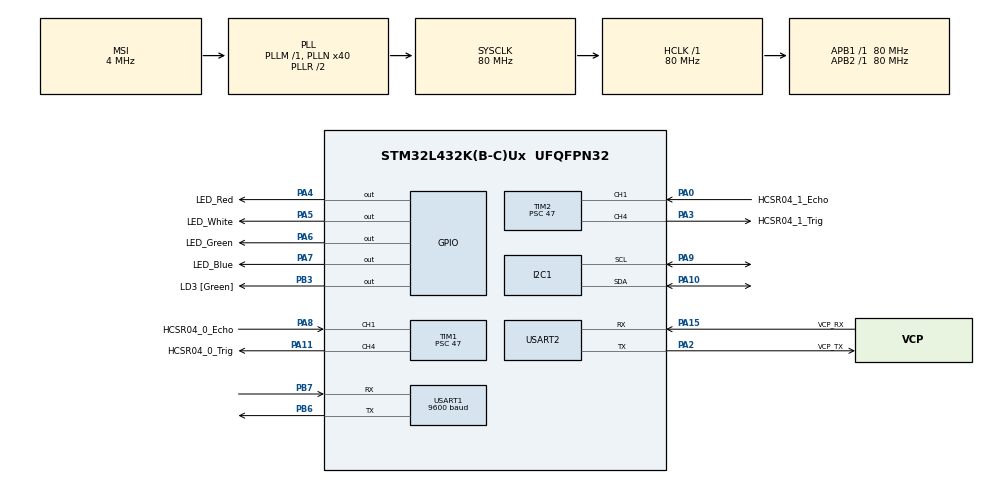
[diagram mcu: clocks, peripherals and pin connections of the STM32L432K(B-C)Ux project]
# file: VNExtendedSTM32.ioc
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I2C1.Timing=0x10909CEC
Mcu.Family=STM32L4
Mcu.Name=STM32L432K(B-C)Ux
Mcu.Package=UFQFPN32
NVIC.I2C1_ER_IRQn=true\:0\:0\:false\:false\:true\:true\:true
NVIC.I2C1_EV_IRQn=true\:0\:0\:false\:false\:true\:true\:true
NVIC.PriorityGroup=NVIC_PRIORITYGROUP_4
NVIC.TIM1_BRK_TIM15_IRQn=true\:0\:0\:false\:false\:true\:true\:true
NVIC.TIM1_CC_IRQn=true\:0\:0\:false\:false\:true\:true\:true
NVIC.TIM1_TRG_COM_IRQn=true\:0\:0\:false\:false\:true\:true\:true
NVIC.TIM1_UP_TIM16_IRQn=true\:0\:0\:false\:false\:true\:true\:true
NVIC.TIM2_IRQn=true\:0\:0\:false\:false\:true\:true\:true
NVIC.USART1_IRQn=true\:0\:0\:false\:false\:true\:true\:true
PA0.GPIO_Label=HCSR04_1_Echo
PA0.Signal=S_TIM2_CH1
PA10.Mode=I2C
PA10.Signal=I2C1_SDA
PA11.GPIO_Label=HCSR04_0_Trig
PA11.Signal=S_TIM1_CH4
PA13\ (JTMS-SWDIO).GPIO_Label=SWDIO
PA13\ (JTMS-SWDIO).Mode=Serial_Wire
PA13\ (JTMS-SWDIO).Signal=SYS_JTMS-SWDIO
PA14\ (JTCK-SWCLK).GPIO_Label=SWCLK
PA14\ (JTCK-SWCLK).Mode=Serial_Wire
PA14\ (JTCK-SWCLK).Signal=SYS_JTCK-SWCLK
PA15\ (JTDI).GPIO_Label=VCP_RX
PA15\ (JTDI).GPIO_PuPd=GPIO_PULLUP
PA15\ (JTDI).Mode=Asynchronous
PA15\ (JTDI).Signal=USART2_RX
PA2.GPIO_Label=VCP_TX
PA2.GPIO_PuPd=GPIO_PULLUP
PA2.Mode=Asynchronous
PA2.Signal=USART2_TX
PA3.GPIO_Label=HCSR04_1_Trig
PA3.Signal=S_TIM2_CH4
PA4.GPIO_Label=LED_Red
PA4.Signal=GPIO_Output
PA5.GPIO_Label=LED_White
PA5.Signal=GPIO_Output
PA6.GPIO_Label=LED_Green
PA6.Signal=GPIO_Output
PA7.GPIO_Label=LED_Blue
PA7.Signal=GPIO_Output
PA8.GPIO_Label=HCSR04_0_Echo
PA8.Signal=S_TIM1_CH1
PA9.Mode=I2C
PA9.Signal=I2C1_SCL
PB3\ (JTDO-TRACESWO).GPIO_Label=LD3 [Green]
PB3\ (JTDO-TRACESWO).Signal=GPIO_Output
PB6.GPIO_PuPd=GPIO_PULLUP
PB6.Mode=Asynchronous
PB6.Signal=USART1_TX
PB7.GPIO_PuPd=GPIO_PULLUP
PB7.Mode=Asynchronous
PB7.Signal=USART1_RX
PC14-OSC32_IN\ (PC14).Mode=LSE-External-Oscillator
PC14-OSC32_IN\ (PC14).Signal=RCC_OSC32_IN
PC15-OSC32_OUT\ (PC15).Mode=LSE-External-Oscillator
PC15-OSC32_OUT\ (PC15).Signal=RCC_OSC32_OUT
ProjectManager.HeapSize=0x200
ProjectManager.StackSize=0x400
ProjectManager.TargetToolchain=SW4STM32
RCC.ADCFreq_Value=16000000
RCC.AHBFreq_Value=80000000
RCC.APB1Freq_Value=80000000
RCC.APB1TimFreq_Value=80000000
RCC.APB2Freq_Value=80000000
RCC.APB2TimFreq_Value=80000000
RCC.CortexFreq_Value=80000000
RCC.HCLKFreq_Value=80000000
RCC.HSE_VALUE=8000000
RCC.HSI16_VALUE=16000000
RCC.HSI48_VALUE=48000000
RCC.HSI_VALUE=16000000
RCC.MSI_VALUE=4000000
RCC.PLLMUL=RCC_PLLMUL_4
RCC.PLLN=40
RCC.SYSCLKFreq_VALUE=80000000
RCC.SYSCLKSource=RCC_SYSCLKSOURCE_PLLCLK
RCC.USBFreq_Value=16000000
RCC.VCOOutputFreq_Value=160000000
SH.S_TIM1_CH1.0=TIM1_CH1,Input_Capture1_from_TI1
SH.S_TIM1_CH1.1=TIM1_CH1,Input_Capture2_from_TI1
SH.S_TIM1_CH4.0=TIM1_CH4,PWM Generation4 CH4
SH.S_TIM2_CH1.0=TIM2_CH1,Input_Capture2_from_TI1
SH.S_TIM2_CH1.1=TIM2_CH1,Input_Capture1_from_TI1
SH.S_TIM2_CH4.0=TIM2_CH4,PWM Generation4 CH4
TIM1.Channel-Input_Capture1_from_TI1=TIM_CHANNEL_1
TIM1.Channel-Input_Capture2_from_TI1=TIM_CHANNEL_2
TIM1.Channel-PWM\ Generation4\ CH4=TIM_CHANNEL_4
TIM1.ICPolarity_CH2=TIM_INPUTCHANNELPOLARITY_FALLING
TIM1.Period=65535
TIM1.Prescaler=47
TIM1.Pulse-PWM\ Generation4\ CH4=11
TIM2.Channel-Input_Capture1_from_TI1=TIM_CHANNEL_1
TIM2.Channel-Input_Capture2_from_TI1=TIM_CHANNEL_2
TIM2.Channel-PWM\ Generation4\ CH4=TIM_CHANNEL_4
TIM2.ICPolarity_CH2=TIM_INPUTCHANNELPOLARITY_FALLING
TIM2.Period=65535
TIM2.Prescaler=47
TIM2.Pulse-PWM\ Generation4\ CH4=11
USART1.BaudRate=9600
USART1.VirtualMode-Asynchronous=VM_ASYNC
USART2.VirtualMode-Asynchronous=VM_ASYNC
VP_TIM2_VS_ClockSourceINT.Mode=Internal
board=NUCLEO-L432KC

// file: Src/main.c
/* USER CODE BEGIN Header */
/**
  ******************************************************************************
  * @file           : main.c
  * @brief          : Main program body
  ******************************************************************************
  * @attention
  *
  * <h2><center>&copy; Copyright (c) 2019 STMicroelectronics.
  * All rights reserved.</center></h2>
  *
  * This software component is licensed by ST under BSD 3-Clause license,
  * the "License"; You may not use this file except in compliance with the
  * License. You may obtain a copy of the License at:
  *                        opensource.org/licenses/BSD-3-Clause
  *
  ******************************************************************************
  */
/* USER CODE END Header */

#include "main.h"
#include "i2c.h"
#include "tim.h"
#include "usart.h"
#include "gpio.h"

/* USER CODE BEGIN Includes */
#include "gps.h"
#include "HMC5883L.h"
#include "hcsr04.h"
#include <string.h>
#include <stdio.h>
/* USER CODE END Includes */

/* USER CODE BEGIN PTD */
typedef struct strCoor {
  float latitude;
  float longitude;
} coordinate;
/* USER CODE END PTD */

/* USER CODE BEGIN PV */
const int numberOfPoints = 2;
coordinate routePoints[2] = {
    {5225.1079, 2099.6542},
    {5225.1312, 2099.5248}
};
float distance0, distance1, currentLatitude, currentLongitude, targetLatitude, targetLongitude, distanceForTarget;
int targetPointIndex = 0;

char buf[30];
uint8_t len;
/* USER CODE END PV */

void SystemClock_Config(void);
/* USER CODE BEGIN PFP */
void vibrateAllMotorsForGivenTime(int);

void vibrateTheProperDirectionMotorOnce(float, char[100]);

void vibrateMotorsForFinish(char[100]);

float getCurrentCourseAngle(float, float, float, float, char[100]);
/* USER CODE END PFP */

/* USER CODE BEGIN 0 */
volatile struct gps_state gps_handle;
volatile uint8_t recv_char;

void HAL_UART_RxCpltCallback(UART_HandleTypeDef *uart) {
  if (uart == &huart1) {
    gps_recv_char(&gps_handle, recv_char);
    HAL_UART_Receive_IT(&huart1, &recv_char, 1);
  }
}
/* USER CODE END 0 */

int main(void)
{

  /* MCU Configuration--------------------------------------------------------*/

  /* Reset of all peripherals, Initializes the Flash interface and the Systick. */
  HAL_Init();

  /* Configure the system clock */
  SystemClock_Config();

  /* Initialize all configured peripherals */
  MX_GPIO_Init();
  MX_USART2_UART_Init();
  MX_I2C1_Init();
  MX_USART1_UART_Init();
  MX_TIM1_Init();
  MX_TIM2_Init();
  /* USER CODE BEGIN 2 */
  HCSR04_0_Init(&htim1);
  HCSR04_1_Init(&htim2);

  gps_handle = gps_init(&huart1);
  HAL_UART_Receive_IT(&huart1, &recv_char, 1);

  char output_buffer[100];
  for (uint8_t i = 0; i < 100; i++)
    output_buffer[i] = '\0';

  HMC5883L_Init();
  /* USER CODE END 2 */

  /* Infinite loop */
  /* USER CODE BEGIN WHILE */
  while (1) {
    sprintf(output_buffer, "\r\n");
    HAL_UART_Transmit(&huart2, output_buffer, strlen(output_buffer), 100);

    sprintf(output_buffer, "Data: %02d-%02d-20%02d\r\n", gps_handle.date_day, gps_handle.date_mounth, gps_handle.date_year);
    HAL_UART_Transmit(&huart2, output_buffer, strlen(output_buffer), 100);

    sprintf(output_buffer, "Czas: %02d:%02d:%02d\r\n", gps_handle.time_hour, gps_handle.time_min, gps_handle.time_sec);
    HAL_UART_Transmit(&huart2, output_buffer, strlen(output_buffer), 100);

    targetLatitude = routePoints[targetPointIndex].latitude;
    targetLongitude = routePoints[targetPointIndex].longitude;

    sprintf(output_buffer, "Szerokosc geograficzna celu: %f \r\n", targetLatitude);
    HAL_UART_Transmit(&huart2, output_buffer, strlen(output_buffer), 100);

    sprintf(output_buffer, "Dlugosc geograficzna celu: %f \r\n", targetLongitude);
    HAL_UART_Transmit(&huart2, output_buffer, strlen(output_buffer), 100);

    currentLatitude = gps_handle.latitude;
    currentLongitude = gps_handle.longitude;

    sprintf(output_buffer, "Obecna szerokosc geograficzna: %f %c\r\n", currentLatitude, gps_handle.latitude_direction);
    HAL_UART_Transmit(&huart2, output_buffer, strlen(output_buffer), 100);

    sprintf(output_buffer, "Obecna dlugosc geograficzna: %f %c\r\n", currentLongitude, gps_handle.longitude_direction);
    HAL_UART_Transmit(&huart2, output_buffer, strlen(output_buffer), 100);

    sprintf(output_buffer, "Angle is: %d\r\n", HMC5883L_GetAngle());
    HAL_UART_Transmit(&huart2, (uint8_t*)output_buffer, strlen(output_buffer), 100);

    HCSR04_0_Read(&distance0);
    len = sprintf(buf, "distance0: %.2f\n\r", distance0);
    HAL_UART_Transmit(&huart2, (uint8_t *) buf, len, 20);

    HCSR04_1_Read(&distance1);
    len = sprintf(buf, "distance1: %.2f\n\r", distance1);
    HAL_UART_Transmit(&huart2, (uint8_t *) buf, len, 20);

    distanceForTarget = distance_between(currentLatitude, currentLongitude, targetLatitude, targetLongitude);

    if (distanceForTarget < 5) {
      if (targetPointIndex >= numberOfPoints) {
        vibrateMotorsForFinish(output_buffer);
        break;
      }
      sprintf(output_buffer, "NASTEPNY PUNKT\n\r");
      HAL_UART_Transmit(&huart2, output_buffer, strlen(output_buffer), 100);
      vibrateAllMotorsForGivenTime(2000);
      ++targetPointIndex;
    }

    if(distance0 < 100 && distance0 > 20 && distance1 < 100 && distance1 > 20) {
      sprintf(output_buffer, "UCIEKAJ DO PRZODU\n\r");
      HAL_UART_Transmit(&huart2, output_buffer, strlen(output_buffer), 100);
      HAL_GPIO_WritePin(LED_Green_GPIO_Port, LED_Green_Pin, 1);
      HAL_Delay(1000);
      HAL_GPIO_WritePin(LED_Green_GPIO_Port, LED_Green_Pin, 0);
    }
    else if (distance0 < 100 && distance0 > 20) {
      sprintf(output_buffer, "UCIEKAJ W PRAWO\n\r");
      HAL_UART_Transmit(&huart2, output_buffer, strlen(output_buffer), 100);
      HAL_GPIO_WritePin(LED_Blue_GPIO_Port, LED_Blue_Pin, 1);
      HAL_Delay(1000);
      HAL_GPIO_WritePin(LED_Blue_GPIO_Port, LED_Blue_Pin, 0);
    } else if (distance1 < 100 && distance1 > 20) {
      sprintf(output_buffer, "UCIEKAJ W LEWO\n\r");
      HAL_UART_Transmit(&huart2, output_buffer, strlen(output_buffer), 100);
      HAL_GPIO_WritePin(LED_White_GPIO_Port, LED_White_Pin, 1);
      HAL_Delay(1000);
      HAL_GPIO_WritePin(LED_White_GPIO_Port, LED_White_Pin, 0);
    } else {
      vibrateTheProperDirectionMotorOnce(
          getCurrentCourseAngle(currentLatitude, currentLongitude, targetLatitude, targetLongitude, output_buffer),
          output_buffer);
    }
    /* USER CODE END WHILE */

    /* USER CODE BEGIN 3 */
    HAL_Delay(2000);
  }
  /* USER CODE END 3 */
}

void SystemClock_Config(void)
{
  RCC_OscInitTypeDef RCC_OscInitStruct = {0};
  RCC_ClkInitTypeDef RCC_ClkInitStruct = {0};
  RCC_PeriphCLKInitTypeDef PeriphClkInit = {0};

  /** Configure LSE Drive Capability
  */
  HAL_PWR_EnableBkUpAccess();
  __HAL_RCC_LSEDRIVE_CONFIG(RCC_LSEDRIVE_LOW);
  /** Initializes the CPU, AHB and APB busses clocks
  */
  RCC_OscInitStruct.OscillatorType = RCC_OSCILLATORTYPE_LSE|RCC_OSCILLATORTYPE_MSI;
  RCC_OscInitStruct.LSEState = RCC_LSE_ON;
  RCC_OscInitStruct.MSIState = RCC_MSI_ON;
  RCC_OscInitStruct.MSICalibrationValue = 0;
  RCC_OscInitStruct.MSIClockRange = RCC_MSIRANGE_6;
  RCC_OscInitStruct.PLL.PLLState = RCC_PLL_ON;
  RCC_OscInitStruct.PLL.PLLSource = RCC_PLLSOURCE_MSI;
  RCC_OscInitStruct.PLL.PLLM = 1;
  RCC_OscInitStruct.PLL.PLLN = 40;
  RCC_OscInitStruct.PLL.PLLP = RCC_PLLP_DIV7;
  RCC_OscInitStruct.PLL.PLLQ = RCC_PLLQ_DIV2;
  RCC_OscInitStruct.PLL.PLLR = RCC_PLLR_DIV2;
  if (HAL_RCC_OscConfig(&RCC_OscInitStruct) != HAL_OK)
  {
    Error_Handler();
  }
  /** Initializes the CPU, AHB and APB busses clocks
  */
  RCC_ClkInitStruct.ClockType = RCC_CLOCKTYPE_HCLK|RCC_CLOCKTYPE_SYSCLK
                              |RCC_CLOCKTYPE_PCLK1|RCC_CLOCKTYPE_PCLK2;
  RCC_ClkInitStruct.SYSCLKSource = RCC_SYSCLKSOURCE_PLLCLK;
  RCC_ClkInitStruct.AHBCLKDivider = RCC_SYSCLK_DIV1;
  RCC_ClkInitStruct.APB1CLKDivider = RCC_HCLK_DIV1;
  RCC_ClkInitStruct.APB2CLKDivider = RCC_HCLK_DIV1;

  if (HAL_RCC_ClockConfig(&RCC_ClkInitStruct, FLASH_LATENCY_4) != HAL_OK)
  {
    Error_Handler();
  }
  PeriphClkInit.PeriphClockSelection = RCC_PERIPHCLK_USART1|RCC_PERIPHCLK_USART2
                              |RCC_PERIPHCLK_I2C1;
  PeriphClkInit.Usart1ClockSelection = RCC_USART1CLKSOURCE_PCLK2;
  PeriphClkInit.Usart2ClockSelection = RCC_USART2CLKSOURCE_PCLK1;
  PeriphClkInit.I2c1ClockSelection = RCC_I2C1CLKSOURCE_PCLK1;
  if (HAL_RCCEx_PeriphCLKConfig(&PeriphClkInit) != HAL_OK)
  {
    Error_Handler();
  }
  /** Configure the main internal regulator output voltage
  */
  if (HAL_PWREx_ControlVoltageScaling(PWR_REGULATOR_VOLTAGE_SCALE1) != HAL_OK)
  {
    Error_Handler();
  }
  /** Enable MSI Auto calibration
  */
  HAL_RCCEx_EnableMSIPLLMode();
}

/* USER CODE BEGIN 4 */
void HAL_TIM_IC_CaptureCallback(TIM_HandleTypeDef *htim) {
  HCSR04_TIM_IC_CaptureCallback(htim);
}

void vibrateAllMotorsForGivenTime(int time) {
  HAL_GPIO_WritePin(LED_White_GPIO_Port, LED_White_Pin, 1);
  HAL_GPIO_WritePin(LED_Green_GPIO_Port, LED_Green_Pin, 1);
  HAL_GPIO_WritePin(LED_Blue_GPIO_Port, LED_Blue_Pin, 1);
  HAL_GPIO_WritePin(LED_Red_GPIO_Port, LED_Red_Pin, 1);
  HAL_Delay(time);
  HAL_GPIO_WritePin(LED_Red_GPIO_Port, LED_Red_Pin, 0);
  HAL_GPIO_WritePin(LED_Blue_GPIO_Port, LED_Blue_Pin, 0);
  HAL_GPIO_WritePin(LED_Green_GPIO_Port, LED_Green_Pin, 0);
  HAL_GPIO_WritePin(LED_White_GPIO_Port, LED_White_Pin, 0);
}

void vibrateTheProperDirectionMotorOnce(float destinationAngle, char output_buffer[100]) {
  if ((0 <= destinationAngle && destinationAngle < 22.5) ||
      (337.5 <= destinationAngle && destinationAngle < 360)) { //front
    sprintf(output_buffer, "IDZ DO PRZODU\n\r");
    HAL_UART_Transmit(&huart2, output_buffer, strlen(output_buffer), 100);
    HAL_GPIO_WritePin(LED_Green_GPIO_Port, LED_Green_Pin, 1);
    HAL_Delay(1000);
    HAL_GPIO_WritePin(LED_Green_GPIO_Port, LED_Green_Pin, 0);
  } else if (destinationAngle >= 22.5 && destinationAngle < 67.5) {    //front + right
    sprintf(output_buffer, "IDZ DO PRZODU NA PRAWO SKOS\n\r");
    HAL_UART_Transmit(&huart2, output_buffer, strlen(output_buffer), 100);
    HAL_GPIO_WritePin(LED_Green_GPIO_Port, LED_Green_Pin, 1);
    HAL_GPIO_WritePin(LED_Blue_GPIO_Port, LED_Blue_Pin, 1);
    HAL_Delay(1000);
    HAL_GPIO_WritePin(LED_Blue_GPIO_Port, LED_Blue_Pin, 0);
    HAL_GPIO_WritePin(LED_Green_GPIO_Port, LED_Green_Pin, 0);
  } else if (destinationAngle >= 67.5 && destinationAngle < 112.5) {    //right side
    sprintf(output_buffer, "IDZ W PRAWO\n\r");
    HAL_UART_Transmit(&huart2, output_buffer, strlen(output_buffer), 100);
    HAL_GPIO_WritePin(LED_Blue_GPIO_Port, LED_Blue_Pin, 1);
    HAL_Delay(1000);
    HAL_GPIO_WritePin(LED_Blue_GPIO_Port, LED_Blue_Pin, 0);
  } else if (destinationAngle >= 112.5 && destinationAngle < 157.5) {   //back + right
    sprintf(output_buffer, "IDZ DO TYLU NA PRAWO SKOS\n\r");
    HAL_UART_Transmit(&huart2, output_buffer, strlen(output_buffer), 100);
    HAL_GPIO_WritePin(LED_Blue_GPIO_Port, LED_Blue_Pin, 1);
    HAL_GPIO_WritePin(LED_Red_GPIO_Port, LED_Red_Pin, 1);
    HAL_Delay(1000);
    HAL_GPIO_WritePin(LED_Red_GPIO_Port, LED_Red_Pin, 0);
    HAL_GPIO_WritePin(LED_Blue_GPIO_Port, LED_Blue_Pin, 0);
  } else if (destinationAngle >= 157.5 && destinationAngle < 202.5) {   //back
    sprintf(output_buffer, "IDZ DO TYLU\n\r");
    HAL_UART_Transmit(&huart2, output_buffer, strlen(output_buffer), 100);
    HAL_GPIO_WritePin(LED_Red_GPIO_Port, LED_Red_Pin, 1);
    HAL_Delay(1000);
    HAL_GPIO_WritePin(LED_Red_GPIO_Port, LED_Red_Pin, 0);
  } else if (destinationAngle >= 202.5 && destinationAngle < 247.5) {   //back + left
    sprintf(output_buffer, "IDZ DO TYLU W LEWO SKOS\n\r");
    HAL_UART_Transmit(&huart2, output_buffer, strlen(output_buffer), 100);
    HAL_GPIO_WritePin(LED_Red_GPIO_Port, LED_Red_Pin, 1);
    HAL_GPIO_WritePin(LED_White_GPIO_Port, LED_White_Pin, 1);
    HAL_Delay(1000);
    HAL_GPIO_WritePin(LED_Red_GPIO_Port, LED_Red_Pin, 0);
    HAL_GPIO_WritePin(LED_White_GPIO_Port, LED_White_Pin, 0);
  } else if (destinationAngle >= 247.5 && destinationAngle < 292.5) {   //left side
    sprintf(output_buffer, "IDZ W LEWO\n\r");
    HAL_UART_Transmit(&huart2, output_buffer, strlen(output_buffer), 100);
    HAL_GPIO_WritePin(LED_White_GPIO_Port, LED_White_Pin, 1);
    HAL_Delay(1000);
    HAL_GPIO_WritePin(LED_White_GPIO_Port, LED_White_Pin, 0);
  } else if (destinationAngle >= 292.5 && destinationAngle < 337.5) {   // front + left
    sprintf(output_buffer, "IDZ DO PRZODU W LEWO SKOS\n\r");
    HAL_UART_Transmit(&huart2, output_buffer, strlen(output_buffer), 100);
    HAL_GPIO_WritePin(LED_White_GPIO_Port, LED_White_Pin, 1);
    HAL_GPIO_WritePin(LED_Green_GPIO_Port, LED_Green_Pin, 1);
    HAL_Delay(1000);
    HAL_GPIO_WritePin(LED_Green_GPIO_Port, LED_Green_Pin, 0);
    HAL_GPIO_WritePin(LED_White_GPIO_Port, LED_White_Pin, 0);
  } else {                                                              // all for 2 seconds
    sprintf(output_buffer, "BLAD\n\r");
    HAL_UART_Transmit(&huart2, output_buffer, strlen(output_buffer), 100);
    vibrateAllMotorsForGivenTime(3000);
  }
}

void vibrateMotorsForFinish(char output_buffer[100]) {
  sprintf(output_buffer, "KONIEC\n\r");
  HAL_UART_Transmit(&huart2, output_buffer, strlen(output_buffer), 100);
  vibrateAllMotorsForGivenTime(500);
  HAL_Delay(1000);
  vibrateAllMotorsForGivenTime(500);
  HAL_Delay(1000);
  vibrateAllMotorsForGivenTime(1000);
}

float getCurrentCourseAngle(float lat1, float long1, float lat2, float long2, char output_buffer[100]) {
  int16_t currentHeading = HMC5883L_GetAngle();
  sprintf(output_buffer, "Kierujesz sie na ten kat: %f\n\r", (float)currentHeading);
  HAL_UART_Transmit(&huart2, output_buffer, strlen(output_buffer), 100);
  float currentBearing = course_to(lat1, long1, lat2, long2);
  sprintf(output_buffer, "Twoj cel pod tym katem: %f\n\r", currentBearing);
  HAL_UART_Transmit(&huart2, output_buffer, strlen(output_buffer), 100);
  float currentCourseAngle = currentBearing - (float)currentHeading;
  if (currentCourseAngle < 0) {
    currentCourseAngle += 360;
  }
  return currentCourseAngle;
}
/* USER CODE END 4 */

void Error_Handler(void)
{
}

/************************ (C) COPYRIGHT STMicroelectronics *****END OF FILE****/
